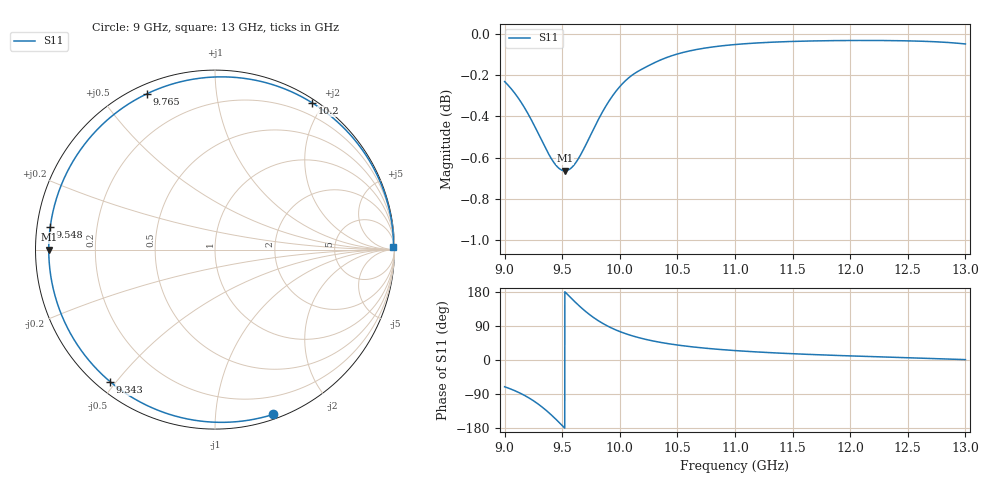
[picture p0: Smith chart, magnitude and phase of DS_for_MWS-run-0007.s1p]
! TOUCHSTONE file generated by CST DESIGN STUDIO
! Date and time: Tue Feb  4 14:25:34 2025
! Project name: C:\Work\MatlabApps\UnitCellOptimizationMatlab\CST\unitcell.cst
! Tree item: Tasks\Sweep1\SPara1\S-Parameters
! Header version: 2024
! Port assignment regex: !\s*Touchstone port\s*([0-9]+)\s*=\s*(CST MWS port|CST DES external port|CST DES block port)\s*(.+)\s* \(\"(.*)\"\)(\s*mode\s*([0-9]+))?.*
! Touchstone port assignment:
! Touchstone port 1 = CST DES external port 1 ("")
# GHz S MA R 50
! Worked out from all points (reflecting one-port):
!   4001 points, 9 GHz to 13 GHz, reference 50 ohm
!   lowest |S11| = -0.7 dB at 9.523 GHz (marker M1), VSWR 26.15, Z = 1.91 + j0.00681 ohm
!   phase of S11 starts at -71 deg and turns -288 deg over the sweep
!   S11 on the Smith chart (normalised r, x): 9 GHz: 0.04, -1.41; 9.343 GHz: 0.04, -0.48; 9.548 GHz: 0.04, +0.07; 9.765 GHz: 0.04, +0.65; 10.2 GHz: 0.04, +1.86; 13 GHz: open
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9  0.9738 -70.6
9.096  0.9668 -82.0
9.202  0.9565 -98.4
9.276  0.9479 -112.9
9.343  0.9396 -128.4
9.386  0.9347 -139.6
9.43  0.9305 -152.0
9.5  0.9266 -172.9
9.523  0.9263 180.0
9.548  0.9266 172.3
9.601  0.9293 156.3
9.661  0.9348 139.2
9.712  0.9408 126.0
9.765  0.9474 113.6
9.814  0.9533 103.5
9.867  0.9593 94.0
9.933  0.9657 83.8
10  0.9711 75.1
10.093  0.9766 65.2
10.196  0.9807 56.5
10.336  0.9851 47.4
10.5  0.9889 39.5
10.721  0.992 31.8
11  0.9942 24.9
11.5  0.9959 16.6
12  0.9964 10.8
12.5  0.9962 6.0
13  0.9945 1.0
